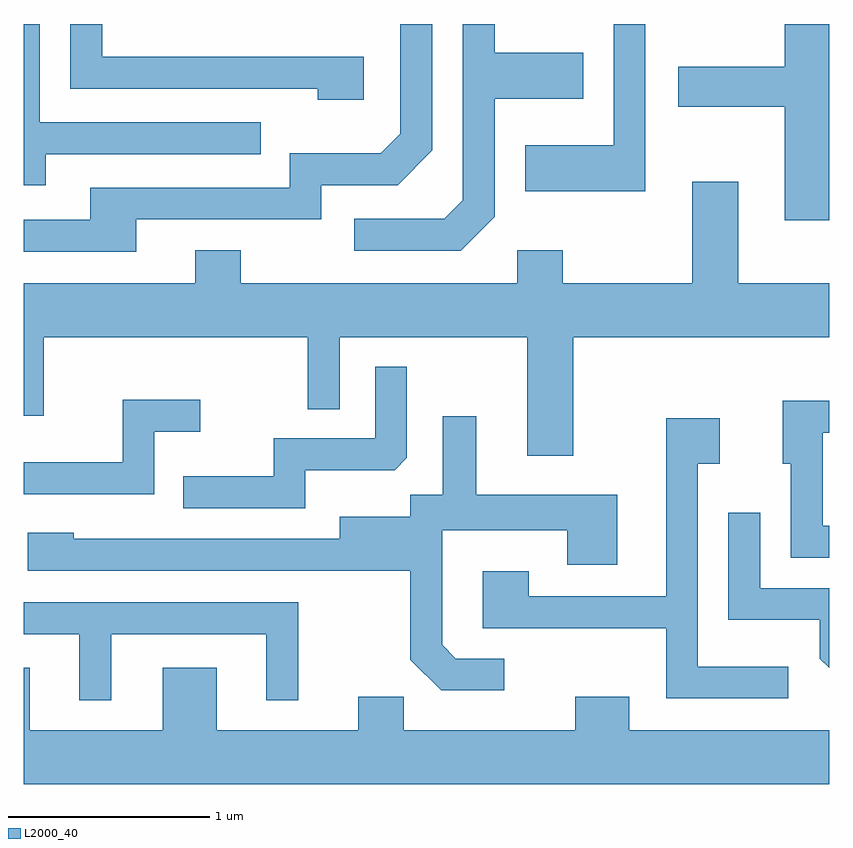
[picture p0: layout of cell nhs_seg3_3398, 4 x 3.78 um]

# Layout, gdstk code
import gdstk
lib = gdstk.Library(unit=1e-6, precision=1e-09)
def P(c, l, *ps):  # polygons
    for p in ps: c.add(gdstk.Polygon(p, *l))
L2000_40 = (2000, 40)

nhs_seg3_3398 = lib.new_cell('nhs_seg3_3398')
P(nhs_seg3_3398, L2000_40, [(283.719,1251.246),(284.788,1251.246),(284.788,1251.404),(283.689,1251.404),(283.689,1251.892),(283.611,1251.892),(283.611,1251.091),(283.719,1251.091)],
  [(286.699,1251.892),(286.541,1251.892),(286.541,1251.289),(286.101,1251.289),(286.101,1251.061),(286.699,1251.061)],
  [(285.949,1250.934),(285.949,1251.521),(286.389,1251.521),(286.389,1251.749),(285.949,1251.749),(285.949,1251.892),(285.791,1251.892),(285.791,1251.017),(285.699,1250.924),(285.253,1250.924),(285.253,1250.766),(285.782,1250.766)],
  [(287.611,1251.892),(287.391,1251.892),(287.391,1251.679),(286.861,1251.679),(286.861,1251.481),(287.391,1251.481),(287.391,1250.916),(287.611,1250.916)],
  [(284.169,1250.921),(285.089,1250.921),(285.089,1251.091),(285.467,1251.091),(285.639,1251.264),(285.639,1251.892),(285.481,1251.892),(285.481,1251.347),(285.384,1251.249),(284.931,1251.249),(284.931,1251.079),(283.941,1251.079),(283.941,1250.919),(283.611,1250.919),(283.611,1250.761),(284.169,1250.761)],
  [(285.299,1251.729),(283.999,1251.729),(283.999,1251.892),(283.841,1251.892),(283.841,1251.571),(285.071,1251.571),(285.071,1251.516),(285.299,1251.516)],
  [(286.339,1250.336),(287.611,1250.336),(287.611,1250.604),(287.159,1250.604),(287.159,1251.109),(286.931,1251.109),(286.931,1250.604),(286.289,1250.604),(286.289,1250.769),(286.061,1250.769),(286.061,1250.604),(284.689,1250.604),(284.689,1250.769),(284.461,1250.769),(284.461,1250.604),(283.611,1250.604),(283.611,1249.946),(283.709,1249.946),(283.709,1250.336),(285.021,1250.336),(285.021,1249.978),(285.179,1249.978),(285.179,1250.336),(286.111,1250.336),(286.111,1249.746),(286.339,1249.746)],
  [(285.009,1249.676),(285.454,1249.676),(285.514,1249.737),(285.514,1250.188),(285.356,1250.188),(285.356,1249.834),(284.851,1249.834),(284.851,1249.644),(284.403,1249.644),(284.403,1249.486),(285.009,1249.486)],
  [(284.259,1249.866),(284.488,1249.866),(284.488,1250.024),(284.101,1250.024),(284.101,1249.714),(283.611,1249.714),(283.611,1249.556),(284.259,1249.556)],
  [(287.611,1249.399),(287.579,1249.399),(287.579,1249.861),(287.611,1249.861),(287.611,1250.019),(287.381,1250.019),(287.381,1249.706),(287.421,1249.706),(287.421,1249.241),(287.611,1249.241)],
  [(285.998,1248.739),(285.757,1248.739),(285.689,1248.807),(285.689,1249.376),(286.311,1249.376),(286.311,1249.206),(286.559,1249.206),(286.559,1249.554),(285.859,1249.554),(285.859,1249.943),(285.691,1249.943),(285.691,1249.554),(285.531,1249.554),(285.531,1249.444),(285.181,1249.444),(285.181,1249.334),(283.859,1249.334),(283.859,1249.364),(283.631,1249.364),(283.631,1249.176),(285.531,1249.176),(285.531,1248.734),(285.684,1248.581),(285.998,1248.581)],
  [(287.408,1248.699),(286.959,1248.699),(286.959,1249.706),(287.069,1249.706),(287.069,1249.934),(286.801,1249.934),(286.801,1249.049),(286.119,1249.049),(286.119,1249.174),(285.891,1249.174),(285.891,1248.891),(286.801,1248.891),(286.801,1248.541),(287.408,1248.541)],
  [(287.611,1249.089),(287.269,1249.089),(287.269,1249.463),(287.111,1249.463),(287.111,1248.931),(287.566,1248.931),(287.566,1248.739),(287.611,1248.694)],
  [(284.044,1248.861),(284.816,1248.861),(284.816,1248.533),(284.974,1248.533),(284.974,1249.019),(283.611,1249.019),(283.611,1248.861),(283.886,1248.861),(283.886,1248.533),(284.044,1248.533)],
  [(287.611,1248.384),(286.619,1248.384),(286.619,1248.549),(286.351,1248.549),(286.351,1248.384),(285.499,1248.384),(285.499,1248.549),(285.271,1248.549),(285.271,1248.384),(284.569,1248.384),(284.569,1248.694),(284.301,1248.694),(284.301,1248.384),(283.639,1248.384),(283.639,1248.694),(283.611,1248.694),(283.611,1248.116),(287.611,1248.116)])

lib.write_gds('nhs_seg3_3398.gds')
